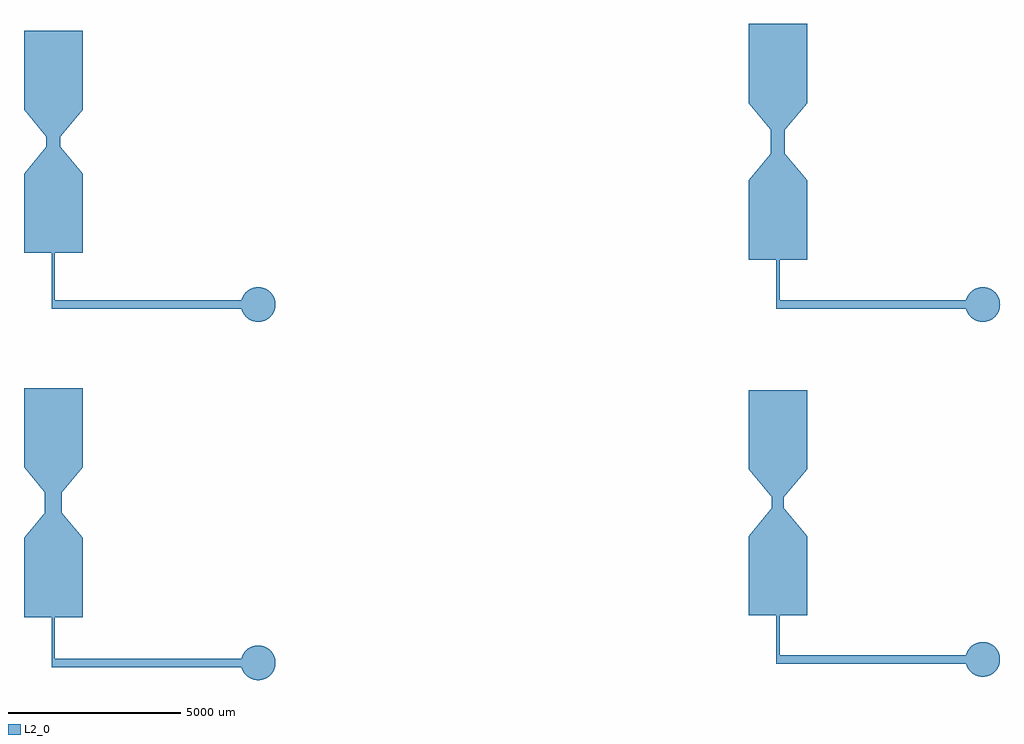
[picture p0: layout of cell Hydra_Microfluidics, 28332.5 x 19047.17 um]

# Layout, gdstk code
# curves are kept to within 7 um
import gdstk
lib = gdstk.Library(unit=1e-6, precision=1e-09)
def R(c, l, rs):  # rectangles x0, y0, x1, y1
    for r in rs: c.add(gdstk.rectangle(r[:2], r[2:], *l))
def P(c, l, *ps):  # polygons
    for p in ps: c.add(gdstk.Polygon(p, *l))
L2_0 = (2, 0)

nw_pad_new3 = lib.new_cell('NW_Pad_New3')

channel_1f = lib.new_cell('Channel_1F')
R(channel_1f, L2_0, [(-849.931,-3266.57,850.069,-966.545), (-174.931,-499.945,175.069,500.055), (-849.931,971.68,850.069,3271.68), (-50.431,3075.505,49.569,4675.505), (-50.431,4425.505,5949.569,4675.505)])
P(channel_1f, L2_0, [(-849.931,973.28),(850.069,973.28),(0.069,-49.945)],
  [(-849.931,-973.145),(850.069,-973.145),(0.069,50.055)],
  [(5959.55,4050.65),(5860.55,4058.5),(5769.8,4083.95),(5681.2,4128.65),(5603.15,4190),(5538.75,4265.55),(5490.55,4352.3),(5460.45,4446.85),(5449.6,4545.5),(5959.55,4545.5)],
  [(5959.55,4545.5),(6449.5,4545.5),(6438.7,4446.85),(6410.55,4356.9),(6363.2,4269.6),(6303.15,4197),(6230.4,4136.85),(6143.25,4089.55),(6048.3,4060.35),(5959.55,4050.65)],
  [(6310.05,4896.95),(6368.7,4823.1),(6414.3,4734.95),(6440.65,4644.4),(6449.5,4545.5),(5449.6,4545.5),(5458.5,4644.4),(5484.85,4734.95),(5530.45,4823.15),(5589.05,4896.95)],
  [(5589.05,4896.95),(5664.55,4961.3),(5751.4,5009.55),(5845.95,5039.65),(5949.55,5050.5),(6048.35,5040.65),(6147.75,5009.55),(6234.5,4961.35),(6310.05,4896.95)])
channel_1f.add(gdstk.Reference(nw_pad_new3, (10.069,14132.505)))
channel_1f.add(gdstk.Reference(nw_pad_new3, (4010.069,14132.505)))
channel_1f.add(gdstk.Reference(nw_pad_new3, (-3989.931,14132.505)))
channel_1f.add(gdstk.Reference(nw_pad_new3, (-7989.931,14132.505)))
channel_1f.add(gdstk.Reference(nw_pad_new3, (8010.069,14132.505)))

nw_pad_new2 = lib.new_cell('NW_Pad_New2')

chamber_1e = lib.new_cell('Chamber_1E')
R(chamber_1e, L2_0, [(-850,-3321.625,850,-1021.6), (-250,-500,250,500), (-850,1021.625,850,3321.625), (-50.5,3175.45,49.5,4775.45), (-50.5,4525.45,5949.5,4775.45)])
P(chamber_1e, L2_0, [(-850,1023.225),(850,1023.225),(0,0)],
  [(-850,-1023.2),(850,-1023.2),(0,0)],
  [(5949.5,4650.45),(5949.5,4150.45),(5850.75,4160.3),(5760.5,4187.55),(5672.75,4234.05),(5595.95,4296.9),(5533.1,4373.7),(5486.6,4461.45),(5459.35,4551.7),(5449.5,4650.45)],
  [(5449.5,4650.45),(5459.35,4749.2),(5486.6,4839.45),(5533.1,4927.2),(5595.95,5004),(5672.75,5066.85),(5760.5,5113.35),(5850.75,5140.6),(5949.5,5150.45),(5949.5,4650.45)],
  [(6449.5,4650.45),(6439.65,4551.7),(6412.4,4461.45),(6365.9,4373.7),(6303.05,4296.9),(6226.25,4234.05),(6138.5,4187.55),(6048.25,4160.3),(5949.5,4150.45),(5949.5,4650.45)],
  [(5949.5,4650.45),(5949.5,5150.45),(6048.25,5140.6),(6138.5,5113.35),(6226.25,5066.85),(6303.05,5004),(6365.9,4927.2),(6412.4,4839.45),(6439.65,4749.2),(6449.5,4650.45)])
chamber_1e.add(gdstk.Reference(nw_pad_new2, (10,14132.45)))
chamber_1e.add(gdstk.Reference(nw_pad_new2, (4010,14132.45)))
chamber_1e.add(gdstk.Reference(nw_pad_new2, (-3990,14132.45)))
chamber_1e.add(gdstk.Reference(nw_pad_new2, (-7990,14132.45)))
chamber_1e.add(gdstk.Reference(nw_pad_new2, (8010,14132.45)))

nw_pad_new1 = lib.new_cell('NW_Pad_New1')

chamber_1d = lib.new_cell('Chamber_1D')
R(chamber_1d, L2_0, [(-50.5,-4849.55,5949.5,-4599.55), (-50.5,-4849.55,49.5,-3249.55), (-850,-3421.625,850,-1121.6), (-200,-500,200,500), (-850,1121.625,850,3421.625)])
P(chamber_1d, L2_0, [(-850,1123.225),(850,1123.225),(0,100)],
  [(-850,-1123.2),(850,-1123.2),(0,-100)],
  [(5949.5,-4724.55),(5949.5,-5224.55),(5850.75,-5214.7),(5760.5,-5187.45),(5672.75,-5140.95),(5595.95,-5078.1),(5533.1,-5001.3),(5486.6,-4913.55),(5459.35,-4823.3),(5449.5,-4724.55)],
  [(5449.5,-4724.55),(5459.35,-4625.8),(5486.6,-4535.55),(5533.1,-4447.8),(5595.95,-4371),(5672.75,-4308.15),(5760.5,-4261.65),(5850.75,-4234.4),(5949.5,-4224.55),(5949.5,-4724.55)],
  [(6449.5,-4724.55),(6439.65,-4823.3),(6412.4,-4913.55),(6365.9,-5001.3),(6303.05,-5078.1),(6226.25,-5140.95),(6138.5,-5187.45),(6048.25,-5214.7),(5949.5,-5224.55),(5949.5,-4724.55)],
  [(5949.5,-4724.55),(5949.5,-4224.55),(6048.25,-4234.4),(6138.5,-4261.65),(6226.25,-4308.15),(6303.05,-4371),(6365.9,-4447.8),(6412.4,-4535.55),(6439.65,-4625.8),(6449.5,-4724.55)])
chamber_1d.add(gdstk.Reference(nw_pad_new1, (10,14132.45)))
chamber_1d.add(gdstk.Reference(nw_pad_new1, (4010,14132.45)))
chamber_1d.add(gdstk.Reference(nw_pad_new1, (-3990,14132.45)))
chamber_1d.add(gdstk.Reference(nw_pad_new1, (-7990,14132.45)))
chamber_1d.add(gdstk.Reference(nw_pad_new1, (8010,14132.45)))

nw_pad_new = lib.new_cell('NW_Pad_New')

chamber_1c = lib.new_cell('Chamber_1C')
R(chamber_1c, L2_0, [(-50.5,-4849.55,5949.5,-4599.55), (-50.5,-4839.55,49.5,-3139.55), (-850,-3221.625,850,-921.6), (-200,-500,200,500), (-850,921.625,850,3221.625)])
P(chamber_1c, L2_0, [(-850,923.225),(850,923.225),(0,-100)],
  [(-850,-923.2),(850,-923.2),(0,100)],
  [(5949.5,-4724.55),(5949.5,-5224.55),(5850.75,-5214.7),(5760.5,-5187.45),(5672.75,-5140.95),(5595.95,-5078.1),(5533.1,-5001.3),(5486.6,-4913.55),(5459.35,-4823.3),(5449.5,-4724.55)],
  [(5449.5,-4724.55),(5459.35,-4625.8),(5486.6,-4535.55),(5533.1,-4447.8),(5595.95,-4371),(5672.75,-4308.15),(5760.5,-4261.65),(5850.75,-4234.4),(5949.5,-4224.55),(5949.5,-4724.55)],
  [(6449.5,-4724.55),(6439.65,-4823.3),(6412.4,-4913.55),(6365.9,-5001.3),(6303.05,-5078.1),(6226.25,-5140.95),(6138.5,-5187.45),(6048.25,-5214.7),(5949.5,-5224.55),(5949.5,-4724.55)],
  [(5949.5,-4724.55),(5949.5,-4224.55),(6048.25,-4234.4),(6138.5,-4261.65),(6226.25,-4308.15),(6303.05,-4371),(6365.9,-4447.8),(6412.4,-4535.55),(6439.65,-4625.8),(6449.5,-4724.55)])
chamber_1c.add(gdstk.Reference(nw_pad_new, (10,14132.45)))
chamber_1c.add(gdstk.Reference(nw_pad_new, (4010,14132.45)))
chamber_1c.add(gdstk.Reference(nw_pad_new, (-3990,14132.45)))
chamber_1c.add(gdstk.Reference(nw_pad_new, (-7990,14132.45)))
chamber_1c.add(gdstk.Reference(nw_pad_new, (8010,14132.45)))

fine_alignment = lib.new_cell('Fine_alignment')

alignment_marks = lib.new_cell('Alignment_Marks')
alignment_marks.add(gdstk.Reference(fine_alignment, (-30,-604)))

hydra_microfluidics = lib.new_cell('Hydra_Microfluidics')
hydra_microfluidics.add(gdstk.Reference(channel_1f, (10524.431,-5804.97), x_reflection=True))
hydra_microfluidics.add(gdstk.Reference(chamber_1e, (-10508.5,-5805.025), x_reflection=True))
hydra_microfluidics.add(gdstk.Reference(chamber_1d, (10524.5,4670.075)))
hydra_microfluidics.add(gdstk.Reference(chamber_1c, (-10508.5,4670.075)))
hydra_microfluidics.add(gdstk.Reference(fine_alignment, (24338.5,-728)))
hydra_microfluidics.add(gdstk.Reference(fine_alignment, (-24446.5,-728)))
hydra_microfluidics.add(gdstk.Reference(alignment_marks, (24338.5,-18527)))
hydra_microfluidics.add(gdstk.Reference(alignment_marks, (-24446.5,-18527)))
hydra_microfluidics.add(gdstk.Reference(alignment_marks, (24338.5,18602)))
hydra_microfluidics.add(gdstk.Reference(alignment_marks, (-24446.5,18602)))

lib.write_gds('Hydra_Microfluidics.gds')
